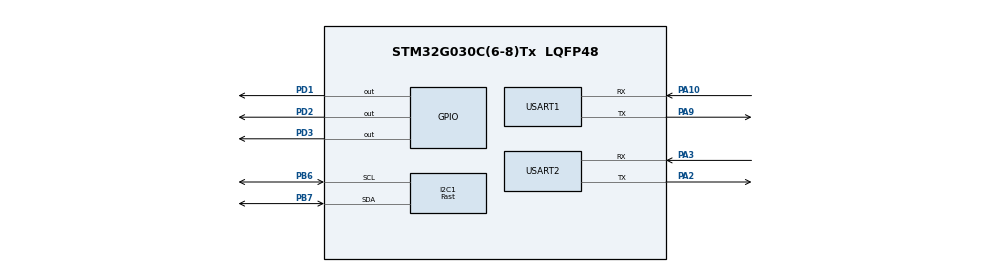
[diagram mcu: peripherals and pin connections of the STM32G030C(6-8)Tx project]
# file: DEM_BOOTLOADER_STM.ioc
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I2C1.I2C_Speed_Mode=I2C_Fast
I2C1.Timing=0x00C12166
Mcu.Family=STM32G0
Mcu.Name=STM32G030C(6-8)Tx
Mcu.Package=LQFP48
NVIC.USART2_IRQn=true\:0\:0\:false\:false\:true\:true\:true\:true
PA10.Mode=Asynchronous
PA10.Signal=USART1_RX
PA13.Mode=Serial_Wire
PA13.Signal=SYS_SWDIO
PA14-BOOT0.Mode=Serial_Wire
PA14-BOOT0.Signal=SYS_SWCLK
PA2.Mode=Asynchronous
PA2.Signal=USART2_TX
PA3.Mode=Asynchronous
PA3.Signal=USART2_RX
PA9.Mode=Asynchronous
PA9.Signal=USART1_TX
PB6.Mode=I2C
PB6.Signal=I2C1_SCL
PB7.Mode=I2C
PB7.Signal=I2C1_SDA
PD1.Signal=GPIO_Output
PD2.Signal=GPIO_Output
PD3.Signal=GPIO_Output
PF0-OSC_IN\ (PF0).Mode=HSE-External-Oscillator
PF0-OSC_IN\ (PF0).Signal=RCC_OSC_IN
PF1-OSC_OUT\ (PF1).Mode=HSE-External-Oscillator
PF1-OSC_OUT\ (PF1).Signal=RCC_OSC_OUT
ProjectManager.HeapSize=0x200
ProjectManager.StackSize=0x400
ProjectManager.TargetToolchain=STM32CubeIDE
RCC.ADCFreq_Value=64000000
RCC.AHBFreq_Value=64000000
RCC.CortexFreq_Value=64000000
RCC.EXTERNAL_CLOCK_VALUE=12288000
RCC.HCLKFreq_Value=64000000
RCC.HSE_VALUE=8000000
RCC.HSI_VALUE=16000000
RCC.LSE_VALUE=32768
RCC.SYSCLKFreq_VALUE=64000000
RCC.SYSCLKSource=RCC_SYSCLKSOURCE_PLLCLK
RCC.VCOOutputFreq_Value=128000000
USART1.VirtualMode-Asynchronous=VM_ASYNC
USART2.VirtualMode-Asynchronous=VM_ASYNC
board=custom

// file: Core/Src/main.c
/* USER CODE BEGIN Header */
/**
 ******************************************************************************
  * @file           : main.c
  * @brief          : STM32 Custom Bootloader Main Program Body
  * @project        : OTA Update System with ESP32 and OLED
  * @author         : hrnkrc
  * @date           : November 2025
  * @description    : This bootloader listens for update commands from ESP32 via UART.
  * It handles Flash Erase, Write, and Verification (CRC32).
  * It also updates an SSD1306 OLED display with progress status.
 *
 ******************************************************************************
 */
/* USER CODE END Header */
#include "main.h"

/* USER CODE BEGIN Includes */
#include "ssd1306_ll.h"
/* USER CODE END Includes */

/* USER CODE BEGIN PD */
/* --- PROTOCOL DEFINITIONS --- */
#define PROTOCOL_CMD_INIT       0xAB  // Magic byte to enter bootloader mode
#define PROTOCOL_ACK            0xC1  // Acknowledge (OK)
#define PROTOCOL_NACK           0x7F  // Not Acknowledge (Error)

/* --- BOOTLOADER COMMANDS --- */
#define CMD_ERASE               0x50  // Erase Application Area
#define CMD_WRITE               0x51  // Write Data Chunk
#define CMD_JUMP_APP            0x52  // Jump to User Application
#define CMD_VERIFY              0x53  // Verify Integrity (CRC32)

/* --- CONFIGURATION --- */
#define BOOTLOADER_TIMEOUT_MS   3000
#define APP_START_ADDRESS       0x08003000 // Flash address where App begins
#define FLASH_PAGE_SIZE         0x800      // 2KB for STM32G0

/* --- FLASH UNLOCK KEYS (From Datasheet) --- */
#define FLASH_KEY1              0x45670123U
#define FLASH_KEY2              0xCDEF89ABU
/* USER CODE END PD */

void SystemClock_Config(void);
static void MX_GPIO_Init(void);
static void MX_USART1_UART_Init(void);
static void MX_USART2_UART_Init(void);
static void MX_I2C1_Init(void);
/* USER CODE BEGIN PFP */
/* --- BOOTLOADER FUNCTIONS --- */
void Bootloader_JumpToApp(void);
void Bootloader_ListeningMode(void);
void Bootloader_ProcessCommands(void);

/* --- DRIVER FUNCTIONS --- */
void Flash_Unlock(void);
void Flash_Lock(void);
void Flash_EraseAppArea(void);
uint8_t Flash_WriteData(uint32_t start_address, uint8_t *data, uint16_t length);
uint32_t Calculate_CRC32(uint32_t start_address, uint32_t length);

/* --- UART HELPER FUNCTIONS --- */
uint8_t UART_ReceiveByte(void);
void UART_SendByte(uint8_t data);
void UART_ReceiveArray(uint8_t *buffer, uint16_t len);
/* USER CODE END PFP */

int main(void) {

	/* MCU Configuration--------------------------------------------------------*/

	/* Reset of all peripherals, Initializes the Flash interface and the Systick. */
	LL_APB2_GRP1_EnableClock(LL_APB2_GRP1_PERIPH_SYSCFG);
	LL_APB1_GRP1_EnableClock(LL_APB1_GRP1_PERIPH_PWR);

	/* SysTick_IRQn interrupt configuration */
	NVIC_SetPriority(SysTick_IRQn, 3);

	/* Configure the system clock */
	SystemClock_Config();

	/* Initialize all configured peripherals */
	MX_GPIO_Init();
	MX_USART1_UART_Init();
	MX_USART2_UART_Init();
	MX_I2C1_Init();
	/* USER CODE BEGIN 2 */
	/* 1. Initialize OLED Display */
	  SSD1306_Init();
	  SSD1306_DrawProgressBar(0); // Draw empty bar
	  SSD1306_UpdateScreen();

	  /* 2. Enable UART for Communication */
	  LL_USART_Enable(USART2);

	  /* 3. Enter Listening Mode (Wait for ESP32) */
	  Bootloader_ListeningMode();

	  /* 4. If no update, jump to Application */
	  Bootloader_JumpToApp();
	/* USER CODE END 2 */

	/* Infinite loop */
	/* USER CODE BEGIN WHILE */
	while (1) {
		/* Error State: Blink Red LED if Jump fails */
		    LL_GPIO_TogglePin(GPIOD, LL_GPIO_PIN_3);
		    LL_mDelay(100);
		/* USER CODE END WHILE */

	}
}

void SystemClock_Config(void) {
	LL_FLASH_SetLatency(LL_FLASH_LATENCY_2);
	while (LL_FLASH_GetLatency() != LL_FLASH_LATENCY_2) {
	}

	/* HSI configuration and activation */
	LL_RCC_HSI_Enable();
	while (LL_RCC_HSI_IsReady() != 1) {
	}

	/* Main PLL configuration and activation */
	LL_RCC_PLL_ConfigDomain_SYS(LL_RCC_PLLSOURCE_HSI, LL_RCC_PLLM_DIV_1, 8,
	LL_RCC_PLLR_DIV_2);
	LL_RCC_PLL_Enable();
	LL_RCC_PLL_EnableDomain_SYS();
	while (LL_RCC_PLL_IsReady() != 1) {
	}

	/* Set AHB prescaler*/
	LL_RCC_SetAHBPrescaler(LL_RCC_SYSCLK_DIV_1);

	/* Sysclk activation on the main PLL */
	LL_RCC_SetSysClkSource(LL_RCC_SYS_CLKSOURCE_PLL);
	while (LL_RCC_GetSysClkSource() != LL_RCC_SYS_CLKSOURCE_STATUS_PLL) {
	}

	/* Set APB1 prescaler*/
	LL_RCC_SetAPB1Prescaler(LL_RCC_APB1_DIV_1);

	LL_Init1msTick(64000000);

	/* Update CMSIS variable (which can be updated also through SystemCoreClockUpdate function) */
	LL_SetSystemCoreClock(64000000);
}

static void MX_I2C1_Init(void) {

	LL_I2C_InitTypeDef I2C_InitStruct = { 0 };

	LL_GPIO_InitTypeDef GPIO_InitStruct = { 0 };

	LL_RCC_SetI2CClockSource(LL_RCC_I2C1_CLKSOURCE_PCLK1);

	LL_IOP_GRP1_EnableClock(LL_IOP_GRP1_PERIPH_GPIOB);
	/**I2C1 GPIO Configuration
	 PB6   ------> I2C1_SCL
	 PB7   ------> I2C1_SDA
	 */
	GPIO_InitStruct.Pin = LL_GPIO_PIN_6;
	GPIO_InitStruct.Mode = LL_GPIO_MODE_ALTERNATE;
	GPIO_InitStruct.Speed = LL_GPIO_SPEED_FREQ_LOW;
	GPIO_InitStruct.OutputType = LL_GPIO_OUTPUT_OPENDRAIN;
	GPIO_InitStruct.Pull = LL_GPIO_PULL_NO;
	GPIO_InitStruct.Alternate = LL_GPIO_AF_6;
	LL_GPIO_Init(GPIOB, &GPIO_InitStruct);

	GPIO_InitStruct.Pin = LL_GPIO_PIN_7;
	GPIO_InitStruct.Mode = LL_GPIO_MODE_ALTERNATE;
	GPIO_InitStruct.Speed = LL_GPIO_SPEED_FREQ_LOW;
	GPIO_InitStruct.OutputType = LL_GPIO_OUTPUT_OPENDRAIN;
	GPIO_InitStruct.Pull = LL_GPIO_PULL_NO;
	GPIO_InitStruct.Alternate = LL_GPIO_AF_6;
	LL_GPIO_Init(GPIOB, &GPIO_InitStruct);

	/* Peripheral clock enable */
	LL_APB1_GRP1_EnableClock(LL_APB1_GRP1_PERIPH_I2C1);

	/** I2C Initialization
	 */
	I2C_InitStruct.PeripheralMode = LL_I2C_MODE_I2C;
	I2C_InitStruct.Timing = 0x00C12166;
	I2C_InitStruct.AnalogFilter = LL_I2C_ANALOGFILTER_ENABLE;
	I2C_InitStruct.DigitalFilter = 0;
	I2C_InitStruct.OwnAddress1 = 0;
	I2C_InitStruct.TypeAcknowledge = LL_I2C_ACK;
	I2C_InitStruct.OwnAddrSize = LL_I2C_OWNADDRESS1_7BIT;
	LL_I2C_Init(I2C1, &I2C_InitStruct);
	LL_I2C_EnableAutoEndMode(I2C1);
	LL_I2C_SetOwnAddress2(I2C1, 0, LL_I2C_OWNADDRESS2_NOMASK);
	LL_I2C_DisableOwnAddress2(I2C1);
	LL_I2C_DisableGeneralCall(I2C1);
	LL_I2C_EnableClockStretching(I2C1);

}

static void MX_USART1_UART_Init(void) {

	LL_USART_InitTypeDef USART_InitStruct = { 0 };

	LL_GPIO_InitTypeDef GPIO_InitStruct = { 0 };

	LL_RCC_SetUSARTClockSource(LL_RCC_USART1_CLKSOURCE_PCLK1);

	/* Peripheral clock enable */
	LL_APB2_GRP1_EnableClock(LL_APB2_GRP1_PERIPH_USART1);

	LL_IOP_GRP1_EnableClock(LL_IOP_GRP1_PERIPH_GPIOA);
	/**USART1 GPIO Configuration
	 PA9   ------> USART1_TX
	 PA10   ------> USART1_RX
	 */
	GPIO_InitStruct.Pin = LL_GPIO_PIN_9;
	GPIO_InitStruct.Mode = LL_GPIO_MODE_ALTERNATE;
	GPIO_InitStruct.Speed = LL_GPIO_SPEED_FREQ_LOW;
	GPIO_InitStruct.OutputType = LL_GPIO_OUTPUT_PUSHPULL;
	GPIO_InitStruct.Pull = LL_GPIO_PULL_NO;
	GPIO_InitStruct.Alternate = LL_GPIO_AF_1;
	LL_GPIO_Init(GPIOA, &GPIO_InitStruct);

	GPIO_InitStruct.Pin = LL_GPIO_PIN_10;
	GPIO_InitStruct.Mode = LL_GPIO_MODE_ALTERNATE;
	GPIO_InitStruct.Speed = LL_GPIO_SPEED_FREQ_LOW;
	GPIO_InitStruct.OutputType = LL_GPIO_OUTPUT_PUSHPULL;
	GPIO_InitStruct.Pull = LL_GPIO_PULL_NO;
	GPIO_InitStruct.Alternate = LL_GPIO_AF_1;
	LL_GPIO_Init(GPIOA, &GPIO_InitStruct);

	USART_InitStruct.PrescalerValue = LL_USART_PRESCALER_DIV1;
	USART_InitStruct.BaudRate = 115200;
	USART_InitStruct.DataWidth = LL_USART_DATAWIDTH_8B;
	USART_InitStruct.StopBits = LL_USART_STOPBITS_1;
	USART_InitStruct.Parity = LL_USART_PARITY_NONE;
	USART_InitStruct.TransferDirection = LL_USART_DIRECTION_TX_RX;
	USART_InitStruct.HardwareFlowControl = LL_USART_HWCONTROL_NONE;
	USART_InitStruct.OverSampling = LL_USART_OVERSAMPLING_16;
	LL_USART_Init(USART1, &USART_InitStruct);
	LL_USART_SetTXFIFOThreshold(USART1, LL_USART_FIFOTHRESHOLD_1_8);
	LL_USART_SetRXFIFOThreshold(USART1, LL_USART_FIFOTHRESHOLD_1_8);
	LL_USART_DisableFIFO(USART1);
	LL_USART_ConfigAsyncMode(USART1);

	LL_USART_Enable(USART1);

	/* Polling USART1 initialisation */
	while ((!(LL_USART_IsActiveFlag_TEACK(USART1)))
			|| (!(LL_USART_IsActiveFlag_REACK(USART1)))) {
	}

}

static void MX_USART2_UART_Init(void) {

	LL_USART_InitTypeDef USART_InitStruct = { 0 };

	LL_GPIO_InitTypeDef GPIO_InitStruct = { 0 };

	/* Peripheral clock enable */
	LL_APB1_GRP1_EnableClock(LL_APB1_GRP1_PERIPH_USART2);

	LL_IOP_GRP1_EnableClock(LL_IOP_GRP1_PERIPH_GPIOA);
	/**USART2 GPIO Configuration
	 PA2   ------> USART2_TX
	 PA3   ------> USART2_RX
	 */
	GPIO_InitStruct.Pin = LL_GPIO_PIN_2;
	GPIO_InitStruct.Mode = LL_GPIO_MODE_ALTERNATE;
	GPIO_InitStruct.Speed = LL_GPIO_SPEED_FREQ_LOW;
	GPIO_InitStruct.OutputType = LL_GPIO_OUTPUT_PUSHPULL;
	GPIO_InitStruct.Pull = LL_GPIO_PULL_NO;
	GPIO_InitStruct.Alternate = LL_GPIO_AF_1;
	LL_GPIO_Init(GPIOA, &GPIO_InitStruct);

	GPIO_InitStruct.Pin = LL_GPIO_PIN_3;
	GPIO_InitStruct.Mode = LL_GPIO_MODE_ALTERNATE;
	GPIO_InitStruct.Speed = LL_GPIO_SPEED_FREQ_LOW;
	GPIO_InitStruct.OutputType = LL_GPIO_OUTPUT_PUSHPULL;
	GPIO_InitStruct.Pull = LL_GPIO_PULL_NO;
	GPIO_InitStruct.Alternate = LL_GPIO_AF_1;
	LL_GPIO_Init(GPIOA, &GPIO_InitStruct);

	/* USART2 interrupt Init */
	NVIC_SetPriority(USART2_IRQn, 0);
	NVIC_EnableIRQ(USART2_IRQn);

	USART_InitStruct.PrescalerValue = LL_USART_PRESCALER_DIV1;
	USART_InitStruct.BaudRate = 115200;
	USART_InitStruct.DataWidth = LL_USART_DATAWIDTH_8B;
	USART_InitStruct.StopBits = LL_USART_STOPBITS_1;
	USART_InitStruct.Parity = LL_USART_PARITY_NONE;
	USART_InitStruct.TransferDirection = LL_USART_DIRECTION_TX_RX;
	USART_InitStruct.HardwareFlowControl = LL_USART_HWCONTROL_NONE;
	USART_InitStruct.OverSampling = LL_USART_OVERSAMPLING_16;
	LL_USART_Init(USART2, &USART_InitStruct);
	LL_USART_ConfigAsyncMode(USART2);

	LL_USART_Enable(USART2);

	/* Polling USART2 initialisation */
	while ((!(LL_USART_IsActiveFlag_TEACK(USART2)))
			|| (!(LL_USART_IsActiveFlag_REACK(USART2)))) {
	}

}

static void MX_GPIO_Init(void) {
	LL_GPIO_InitTypeDef GPIO_InitStruct = { 0 };

	/* GPIO Ports Clock Enable */
	LL_IOP_GRP1_EnableClock(LL_IOP_GRP1_PERIPH_GPIOF);
	LL_IOP_GRP1_EnableClock(LL_IOP_GRP1_PERIPH_GPIOA);
	LL_IOP_GRP1_EnableClock(LL_IOP_GRP1_PERIPH_GPIOD);
	LL_IOP_GRP1_EnableClock(LL_IOP_GRP1_PERIPH_GPIOB);

	/**/
	LL_GPIO_ResetOutputPin(GPIOD, LL_GPIO_PIN_1);

	/**/
	LL_GPIO_ResetOutputPin(GPIOD, LL_GPIO_PIN_2);

	/**/
	LL_GPIO_ResetOutputPin(GPIOD, LL_GPIO_PIN_3);

	/**/
	GPIO_InitStruct.Pin = LL_GPIO_PIN_1;
	GPIO_InitStruct.Mode = LL_GPIO_MODE_OUTPUT;
	GPIO_InitStruct.Speed = LL_GPIO_SPEED_FREQ_LOW;
	GPIO_InitStruct.OutputType = LL_GPIO_OUTPUT_PUSHPULL;
	GPIO_InitStruct.Pull = LL_GPIO_PULL_NO;
	LL_GPIO_Init(GPIOD, &GPIO_InitStruct);

	/**/
	GPIO_InitStruct.Pin = LL_GPIO_PIN_2;
	GPIO_InitStruct.Mode = LL_GPIO_MODE_OUTPUT;
	GPIO_InitStruct.Speed = LL_GPIO_SPEED_FREQ_LOW;
	GPIO_InitStruct.OutputType = LL_GPIO_OUTPUT_PUSHPULL;
	GPIO_InitStruct.Pull = LL_GPIO_PULL_NO;
	LL_GPIO_Init(GPIOD, &GPIO_InitStruct);

	/**/
	GPIO_InitStruct.Pin = LL_GPIO_PIN_3;
	GPIO_InitStruct.Mode = LL_GPIO_MODE_OUTPUT;
	GPIO_InitStruct.Speed = LL_GPIO_SPEED_FREQ_LOW;
	GPIO_InitStruct.OutputType = LL_GPIO_OUTPUT_PUSHPULL;
	GPIO_InitStruct.Pull = LL_GPIO_PULL_NO;
	LL_GPIO_Init(GPIOD, &GPIO_InitStruct);

}

/* USER CODE BEGIN 4 */
/**
  * @brief  Jumps to the User Application located at APP_START_ADDRESS.
  * It resets the stack pointer and vector table offset before jumping.
  */
typedef void (*pFunction)(void);

void Bootloader_JumpToApp(void)
{
    uint32_t app_address = APP_START_ADDRESS;

    /* Check if valid stack pointer exists at the application address */
    if (((*(__IO uint32_t*)app_address) & 0x2FFE0000) == 0x20000000)
    {
        /* 1. De-initialize Peripherals */
        SysTick->CTRL = 0;
        SysTick->LOAD = 0;
        SysTick->VAL = 0;
        LL_USART_Disable(USART1);
        LL_USART_Disable(USART2);

        /* 2. Prepare Jump Address */
        uint32_t jump_address = *(__IO uint32_t*) (app_address + 4);
        pFunction Jump_To_Application = (pFunction) jump_address;

        /* 3. Set Main Stack Pointer (MSP) */
        __set_MSP(*(__IO uint32_t*) app_address);

        /* 4. Jump! */
        Jump_To_Application();
    }
}

/**
  * @brief  Listens for the magic byte (0xAB) from ESP32 for 3 seconds.
  * If received, enters Command Processing mode.
  */
void Bootloader_ListeningMode(void)
{
    uint32_t timeout_counter = BOOTLOADER_TIMEOUT_MS / 10;

    while (timeout_counter > 0)
    {
        /* Visual Feedback: Toggle Red LED */
        if (timeout_counter % 50 == 0) LL_GPIO_TogglePin(GPIOD, LL_GPIO_PIN_3);

        /* Check UART RX */
        if (LL_USART_IsActiveFlag_RXNE(USART2))
        {
            if (LL_USART_ReceiveData8(USART2) == PROTOCOL_CMD_INIT)
            {
                /* Handshake Successful */
                LL_GPIO_SetOutputPin(GPIOD, LL_GPIO_PIN_3); // Solid Red LED
                UART_SendByte(PROTOCOL_ACK);                // Send ACK
                Bootloader_ProcessCommands();               // Enter Command Loop
                return;
            }
        }
        LL_mDelay(10);
        timeout_counter--;
    }

    /* Timeout: Turn off LED and exit */
    LL_GPIO_ResetOutputPin(GPIOD, LL_GPIO_PIN_3);
}

/**
  * @brief  Main loop to process commands from ESP32 (Erase, Write, Jump).
  */
void Bootloader_ProcessCommands(void)
{
    uint8_t cmd;
    uint8_t len;
    uint8_t rx_buffer[128];
    uint32_t current_write_addr = APP_START_ADDRESS;
    uint32_t written_bytes = 0;

    Flash_Unlock();

    while (1)
    {
        cmd = UART_ReceiveByte();

        /* --- COMMAND: ERASE --- */
        if (cmd == CMD_ERASE)
        {
            SSD1306_Clear();
            SSD1306_WriteString(35, 5, "ERASING...");
            SSD1306_DrawProgressBar(0);
            SSD1306_UpdateScreen();

            Flash_EraseAppArea();

            current_write_addr = APP_START_ADDRESS;
            written_bytes = 0;

            UART_SendByte(PROTOCOL_ACK);
        }
        /* --- COMMAND: WRITE --- */
        else if (cmd == CMD_WRITE)
        {
            len = UART_ReceiveByte();
            UART_ReceiveArray(rx_buffer, len);

            uint8_t result = Flash_WriteData(current_write_addr, rx_buffer, len);

            if (result == 1) // Success
            {
                current_write_addr += len;
                written_bytes += len;

                /* Update OLED every 1KB to save time */
                if (written_bytes % 1024 < 64)
                {
                    uint8_t percent = (written_bytes * 100) / 20000; // Est. 20KB
                    if (percent > 95) percent = 95;

                    SSD1306_Clear();
                    SSD1306_WriteString(25, 5, "LOADING...");
                    SSD1306_DrawProgressBar(percent);
                    SSD1306_UpdateScreen();
                }
                UART_SendByte(PROTOCOL_ACK);
            }
            else // Failure
            {
                UART_SendByte(PROTOCOL_NACK);
                UART_SendByte(result); // Send Error Code
            }
        }
        /* --- COMMAND: VERIFY (CRC32) --- */
        else if (cmd == CMD_VERIFY)
        {
            uint8_t verify_buffer[8];
            UART_ReceiveArray(verify_buffer, 8);

            /* Parse Received Data (Little Endian) */
            uint32_t received_crc = verify_buffer[0] | (verify_buffer[1] << 8) |
                                    (verify_buffer[2] << 16) | (verify_buffer[3] << 24);

            uint32_t total_len = verify_buffer[4] | (verify_buffer[5] << 8) |
                                 (verify_buffer[6] << 16) | (verify_buffer[7] << 24);

            /* Update Screen */
            SSD1306_Clear();
            SSD1306_WriteString(25, 5, "VERIFYING");
            SSD1306_DrawProgressBar(50);
            SSD1306_UpdateScreen();

            /* Calculate Local CRC */
            uint32_t calculated_crc = Calculate_CRC32(APP_START_ADDRESS, total_len);

            if (calculated_crc == received_crc)
            {
                /* SUCCESS */
                SSD1306_Clear();
                SSD1306_WriteString(35, 5, "SECURE!");
                SSD1306_DrawProgressBar(100);
                SSD1306_UpdateScreen();
                UART_SendByte(PROTOCOL_ACK);
            }
            else
            {
                /* FAILURE */
                SSD1306_Clear();
                SSD1306_WriteString(35, 5, "CRC ERROR!");
                SSD1306_UpdateScreen();
                UART_SendByte(PROTOCOL_NACK);
            }
        }
        /* --- COMMAND: JUMP --- */
        else if (cmd == CMD_JUMP_APP)
        {
            SSD1306_Clear();
            SSD1306_WriteString(30, 5, "UPDATED");
            SSD1306_DrawProgressBar(100);
            SSD1306_UpdateScreen();

            Flash_Lock();
            UART_SendByte(PROTOCOL_ACK);
            return; // Exit loop to jump
        }
    }
}

/* ========================================================================== */
/* FLASH DRIVER FUNCTIONS                                                     */
/* ========================================================================== */

void Flash_Unlock(void) {
    if (FLASH->CR & FLASH_CR_LOCK) {
        FLASH->KEYR = FLASH_KEY1;
        FLASH->KEYR = FLASH_KEY2;
    }
}

void Flash_Lock(void) {
    FLASH->CR |= FLASH_CR_LOCK;
}

void Flash_EraseAppArea(void) {
    uint32_t page_index;
    __disable_irq();

    /* Clear Flash Flags */
    FLASH->SR = FLASH_SR_OPERR | FLASH_SR_PROGERR | FLASH_SR_WRPERR |
                FLASH_SR_PGAERR | FLASH_SR_SIZERR | FLASH_SR_PGSERR |
                FLASH_SR_MISERR | FLASH_SR_FASTERR | FLASH_SR_EOP;

    /* Erase Pages 6 to 31 (Application Area) */
    for (page_index = 6; page_index < 32; page_index++) {
        while (FLASH->SR & FLASH_SR_BSY1);
        FLASH->CR |= FLASH_CR_PER;
        FLASH->CR &= ~FLASH_CR_PNB;
        FLASH->CR |= (page_index << FLASH_CR_PNB_Pos);
        FLASH->CR |= FLASH_CR_STRT;
        while (FLASH->SR & FLASH_SR_BSY1);
        FLASH->CR &= ~FLASH_CR_PER;
        FLASH->CR &= ~FLASH_CR_PNB;
    }
    __enable_irq();
}

uint8_t Flash_WriteData(uint32_t start_address, uint8_t *data, uint16_t length) {
    uint32_t i;
    uint32_t data_word1, data_word2;

    if (FLASH->CR & FLASH_CR_LOCK) {
        FLASH->KEYR = FLASH_KEY1;
        FLASH->KEYR = FLASH_KEY2;
    }

    __disable_irq();

    /* Clear Flags */
    FLASH->SR = FLASH_SR_OPERR | FLASH_SR_PROGERR | FLASH_SR_WRPERR |
                FLASH_SR_PGAERR | FLASH_SR_SIZERR | FLASH_SR_PGSERR |
                FLASH_SR_MISERR | FLASH_SR_FASTERR | FLASH_SR_EOP;

    /* Enable Programming Mode */
    FLASH->CR |= FLASH_CR_PG;

    for (i = 0; i < length; i += 8) {
        /* Align Data (Byte to Word) */
        data_word1 = (uint32_t)data[i] | ((uint32_t)data[i+1] << 8) |
                     ((uint32_t)data[i+2] << 16) | ((uint32_t)data[i+3] << 24);
        data_word2 = (uint32_t)data[i+4] | ((uint32_t)data[i+5] << 8) |
                     ((uint32_t)data[i+6] << 16) | ((uint32_t)data[i+7] << 24);

        /* Write Double Word */
        *(__IO uint32_t*)(start_address + i) = data_word1;
        *(__IO uint32_t*)(start_address + i + 4) = data_word2;

        while (FLASH->SR & FLASH_SR_BSY1);

        /* Error Check */
        if (FLASH->SR & (FLASH_SR_OPERR | FLASH_SR_PROGERR | FLASH_SR_WRPERR |
                         FLASH_SR_PGAERR | FLASH_SR_SIZERR | FLASH_SR_PGSERR)) {
            uint8_t error = (uint8_t)(FLASH->SR);
            FLASH->CR &= ~FLASH_CR_PG;
            __enable_irq();
            return error;
        }

        if (FLASH->SR & FLASH_SR_EOP) {
            FLASH->SR = FLASH_SR_EOP;
        }
    }

    FLASH->CR &= ~FLASH_CR_PG;
    __enable_irq();
    return 1;
}

uint32_t Calculate_CRC32(uint32_t start_address, uint32_t length) {
    uint32_t crc = 0xFFFFFFFF;
    uint8_t *pData = (uint8_t*) start_address;
    uint32_t i, j;

    for (i = 0; i < length; i++) {
        crc ^= pData[i];
        for (j = 0; j < 8; j++) {
            if (crc & 1) crc = (crc >> 1) ^ 0xEDB88320;
            else crc >>= 1;
        }
    }
    return ~crc;
}

/* ========================================================================== */
/* UART HELPER FUNCTIONS                                                      */
/* ========================================================================== */

uint8_t UART_ReceiveByte(void) {
    while (!LL_USART_IsActiveFlag_RXNE(USART2));
    return LL_USART_ReceiveData8(USART2);
}

void UART_ReceiveArray(uint8_t *buffer, uint16_t len) {
    for (uint16_t i = 0; i < len; i++) buffer[i] = UART_ReceiveByte();
}

void UART_SendByte(uint8_t data) {
    LL_USART_TransmitData8(USART2, data);
    while (!LL_USART_IsActiveFlag_TC(USART2));
}
/* USER CODE END 4 */

void Error_Handler(void) {
	__disable_irq();
	while (1) {
	}
}
